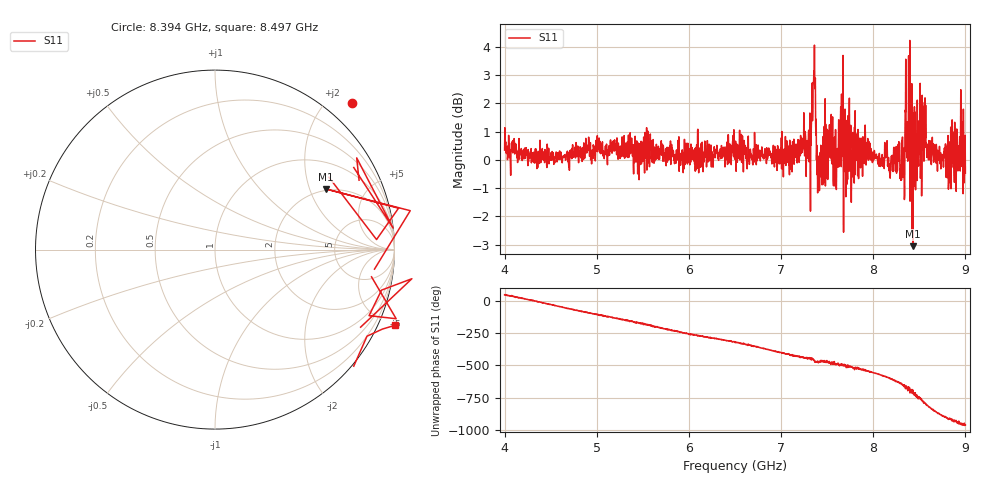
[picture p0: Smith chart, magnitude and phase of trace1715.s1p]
! Created with skrf 1.8.0 (http://scikit-rf.org).
# Hz S RI R 50.0
!freq ReS11 ImS11
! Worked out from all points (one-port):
!   1601 points, 4 GHz to 9 GHz, reference 50 ohm
!   lowest |S11| = -3.1 dB at 8.431 GHz (marker M1), VSWR 5.75, Z = 96.9 + j130 ohm
!   |S11| at or under -10 dB: nowhere
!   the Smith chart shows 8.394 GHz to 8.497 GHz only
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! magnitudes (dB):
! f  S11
! 4 GHz  0.3
! 4.625 GHz  -0.1
! 5.25 GHz  0.1
! 5.875 GHz  0.0
! 6.5 GHz  0.4
! 7.125 GHz  0.6
! 7.238 GHz  0.7
! 7.294 GHz  0.0
! 7.356 GHz  3.1
! 7.4 GHz  -0.1
! 7.422 GHz  0.0
! 7.538 GHz  0.9
! 7.591 GHz  1.1
! 7.65 GHz  1.8
! 7.7 GHz  0.6
! 7.75 GHz  0.6
! 7.769 GHz  -0.5
! 7.822 GHz  0.0
! 8.316 GHz  0.8
! 8.375 GHz  0.0
! 8.412 GHz  0.0
! 8.431 GHz  -3.1
! 8.459 GHz  -1.1
! 8.556 GHz  2.0
! 8.606 GHz  0.0
! 8.812 GHz  0.9
! 8.959 GHz  1.4
! 9 GHz  -0.5
